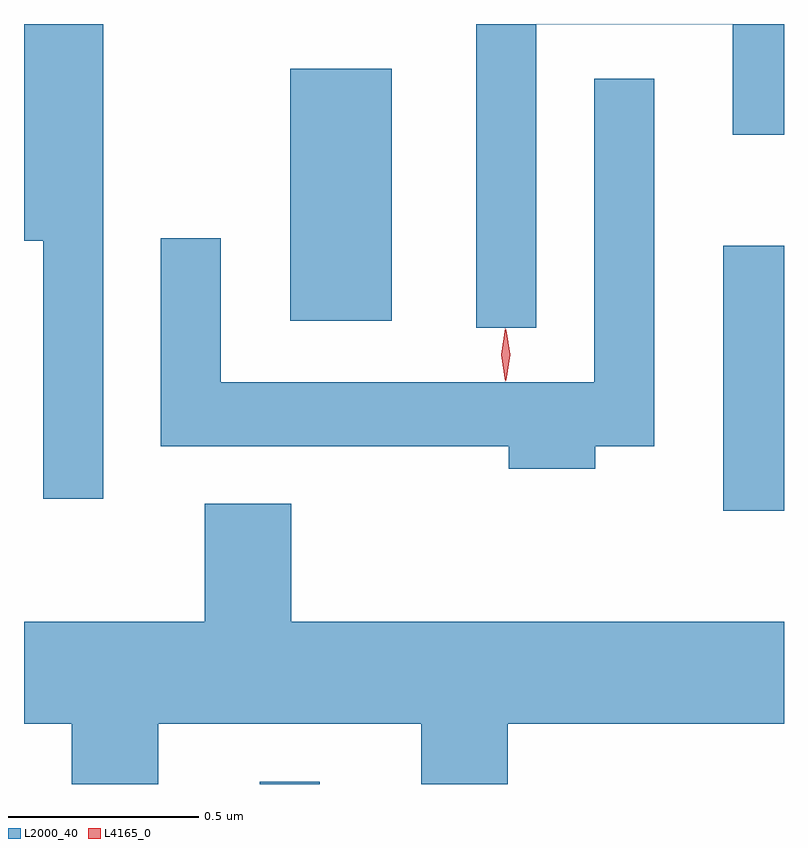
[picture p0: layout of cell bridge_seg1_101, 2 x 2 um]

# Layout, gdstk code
import gdstk
lib = gdstk.Library(unit=1e-6, precision=1e-09)
def R(c, l, rs):  # rectangles x0, y0, x1, y1
    for r in rs: c.add(gdstk.rectangle(r[:2], r[2:], *l))
def P(c, l, *ps):  # polygons
    for p in ps: c.add(gdstk.Polygon(p, *l))
L2000_40 = (2000, 40)
L4165_0 = (4165, 0)

bridge_seg1_101 = lib.new_cell('bridge_seg1_101')
R(bridge_seg1_101, L2000_40, [(1249.336,863.897,1249.494,863.903), (1250.556,864.616,1250.716,865.314), (1249.416,865.116,1249.684,865.779)])
P(bridge_seg1_101, L2000_40, [(1248.924,865.897),(1248.716,865.897),(1248.716,865.326),(1248.766,865.326),(1248.766,864.648),(1248.924,864.648)],
  [(1250.064,865.896),(1250.581,865.896),(1250.581,865.606),(1250.716,865.606),(1250.716,865.897),(1249.906,865.897),(1249.906,865.098),(1250.064,865.098)],
  [(1250.219,864.786),(1250.374,864.786),(1250.374,865.753),(1250.216,865.753),(1250.216,864.954),(1249.234,864.954),(1249.234,865.333),(1249.076,865.333),(1249.076,864.786),(1249.991,864.786),(1249.991,864.726),(1250.219,864.726)],
  [(1249.069,864.056),(1249.761,864.056),(1249.761,863.897),(1249.989,863.897),(1249.989,864.056),(1250.716,864.056),(1250.716,864.324),(1249.419,864.324),(1249.419,864.634),(1249.191,864.634),(1249.191,864.324),(1248.716,864.324),(1248.716,864.056),(1248.841,864.056),(1248.841,863.897),(1249.069,863.897)])
P(bridge_seg1_101, L4165_0, [(1249.982,864.957),(1249.982,864.957),(1249.972,865.027),(1249.982,865.096),(1249.982,865.096),(1249.983,865.096),(1249.992,865.027),(1249.983,864.957)],
  [(1249.985,864.959),(1249.984,864.96),(1249.975,865.026),(1249.984,865.092),(1249.985,865.093),(1249.985,865.092),(1249.995,865.026),(1249.985,864.96)])

lib.write_gds('bridge_seg1_101.gds')
